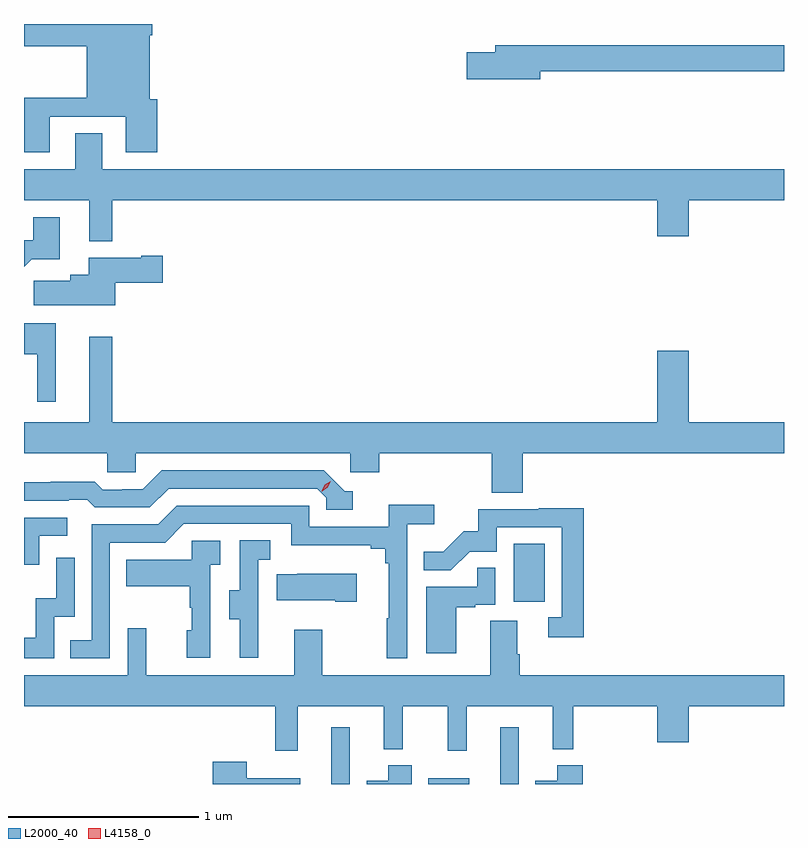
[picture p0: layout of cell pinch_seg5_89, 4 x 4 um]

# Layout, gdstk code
import gdstk
lib = gdstk.Library(unit=1e-6, precision=1e-09)
def R(c, l, rs):  # rectangles x0, y0, x1, y1
    for r in rs: c.add(gdstk.rectangle(r[:2], r[2:], *l))
def P(c, l, *ps):  # polygons
    for p in ps: c.add(gdstk.Polygon(p, *l))
L2000_40 = (2000, 40)
L4158_0 = (4158, 0)

pinch_seg5_89 = lib.new_cell('pinch_seg5_89')
R(pinch_seg5_89, L2000_40, [(1050.404,906.968,1050.501,907.267), (1050.914,906.968,1051.129,906.997), (1051.292,906.968,1051.389,907.267), (1051.364,907.926,1051.528,908.233)])
P(pinch_seg5_89, L2000_40, [(1048.921,910.479),(1049.321,910.479),(1049.321,910.293),(1049.486,910.293),(1049.486,910.572),(1049.449,910.572),(1049.449,910.91),(1049.462,910.91),(1049.462,910.968),(1048.786,910.968),(1048.786,910.85),(1049.117,910.85),(1049.117,910.58),(1048.786,910.58),(1048.786,910.293),(1048.921,910.293)],
  [(1051.504,910.72),(1052.786,910.72),(1052.786,910.856),(1051.265,910.856),(1051.265,910.82),(1051.116,910.82),(1051.116,910.678),(1051.504,910.678)],
  [(1049.251,910.04),(1052.12,910.04),(1052.12,909.852),(1052.284,909.852),(1052.284,910.04),(1052.786,910.04),(1052.786,910.204),(1049.197,910.204),(1049.197,910.394),(1049.057,910.394),(1049.057,910.204),(1048.786,910.204),(1048.786,910.04),(1049.129,910.04),(1049.129,909.824),(1049.251,909.824)],
  [(1048.826,909.731),(1048.975,909.731),(1048.975,909.952),(1048.835,909.952),(1048.835,909.829),(1048.786,909.829),(1048.786,909.691)],
  [(1049.266,909.605),(1049.515,909.605),(1049.515,909.747),(1049.402,909.747),(1049.402,909.739),(1049.126,909.739),(1049.126,909.649),(1049.03,909.649),(1049.03,909.617),(1048.836,909.617),(1048.836,909.488),(1049.266,909.488)],
  [(1048.954,909.394),(1048.786,909.394),(1048.786,909.23),(1048.856,909.23),(1048.856,908.979),(1048.954,908.979)],
  [(1051.412,908.708),(1052.786,908.708),(1052.786,908.872),(1052.284,908.872),(1052.284,909.247),(1052.12,909.247),(1052.12,908.872),(1049.251,908.872),(1049.251,909.322),(1049.129,909.322),(1049.129,908.872),(1048.786,908.872),(1048.786,908.708),(1049.223,908.708),(1049.223,908.61),(1049.373,908.61),(1049.373,908.708),(1050.504,908.708),(1050.504,908.61),(1050.656,908.61),(1050.656,908.708),(1051.247,908.708),(1051.247,908.5),(1051.412,908.5)],
  [(1050.517,908.508),(1050.474,908.508),(1050.363,908.619),(1049.51,908.619),(1049.411,908.52),(1049.304,908.52),(1049.304,908.517),(1049.201,908.517),(1049.159,908.56),(1048.926,908.56),(1048.926,908.557),(1048.786,908.557),(1048.786,908.46),(1049.021,908.46),(1049.021,908.463),(1049.12,908.463),(1049.159,908.424),(1049.448,908.424),(1049.547,908.523),(1050.33,908.523),(1050.378,908.475),(1050.378,908.412),(1050.517,908.412)],
  [(1049.238,908.238),(1049.529,908.238),(1049.628,908.337),(1050.192,908.337),(1050.192,908.225),(1050.611,908.225),(1050.611,908.206),(1050.688,908.206),(1050.688,908.129),(1050.707,908.129),(1050.707,907.841),(1050.696,907.841),(1050.696,907.629),(1050.804,907.629),(1050.804,908.336),(1050.946,908.336),(1050.946,908.438),(1050.707,908.438),(1050.707,908.322),(1050.288,908.322),(1050.288,908.433),(1049.591,908.433),(1049.492,908.334),(1049.142,908.334),(1049.142,907.725),(1049.029,907.725),(1049.029,907.629),(1049.238,907.629)],
  [(1051.733,908.42),(1051.495,908.42),(1051.495,908.415),(1051.177,908.415),(1051.177,908.298),(1051.1,908.298),(1050.993,908.191),(1050.889,908.191),(1050.889,908.092),(1051.033,908.092),(1051.131,908.19),(1051.275,908.19),(1051.275,908.319),(1051.617,908.319),(1051.617,907.845),(1051.545,907.845),(1051.545,907.74),(1051.733,907.74)],
  [(1048.866,908.274),(1049.014,908.274),(1049.014,908.37),(1048.786,908.37),(1048.786,908.121),(1048.866,908.121)],
  [(1050.02,907.845),(1050.018,907.845),(1050.018,908.149),(1050.082,908.149),(1050.082,908.252),(1049.922,908.252),(1049.922,907.989),(1049.867,907.989),(1049.867,907.834),(1049.921,907.834),(1049.921,907.632),(1050.02,907.632)],
  [(1049.766,908.123),(1049.818,908.123),(1049.818,908.247),(1049.67,908.247),(1049.67,908.149),(1049.323,908.149),(1049.323,908.009),(1049.658,908.009),(1049.658,907.895),(1049.668,907.895),(1049.668,907.776),(1049.642,907.776),(1049.642,907.632),(1049.766,907.632)],
  [(1048.944,907.848),(1049.052,907.848),(1049.052,908.158),(1048.956,908.158),(1048.956,907.946),(1048.847,907.946),(1048.847,907.738),(1048.786,907.738),(1048.786,907.629),(1048.944,907.629)],
  [(1051.06,907.899),(1051.16,907.899),(1051.16,907.911),(1051.266,907.911),(1051.266,908.105),(1051.171,908.105),(1051.171,908.007),(1050.902,908.007),(1050.902,907.656),(1051.06,907.656)],
  [(1050.538,908.074),(1050.223,908.074),(1050.223,908.071),(1050.115,908.071),(1050.115,907.934),(1050.425,907.934),(1050.425,907.927),(1050.538,907.927)],
  [(1050.227,907.376),(1050.68,907.376),(1050.68,907.151),(1050.78,907.151),(1050.78,907.376),(1051.015,907.376),(1051.015,907.143),(1051.115,907.143),(1051.115,907.376),(1051.568,907.376),(1051.568,907.151),(1051.678,907.151),(1051.678,907.376),(1052.12,907.376),(1052.12,907.188),(1052.284,907.188),(1052.284,907.376),(1052.786,907.376),(1052.786,907.54),(1051.394,907.54),(1051.394,907.652),(1051.381,907.652),(1051.381,907.826),(1051.241,907.826),(1051.241,907.54),(1050.357,907.54),(1050.357,907.78),(1050.209,907.78),(1050.209,907.54),(1049.429,907.54),(1049.429,907.789),(1049.331,907.789),(1049.331,907.54),(1048.786,907.54),(1048.786,907.376),(1050.109,907.376),(1050.109,907.143),(1050.227,907.143)],
  [(1050.241,906.997),(1049.958,906.997),(1049.958,907.084),(1049.78,907.084),(1049.78,906.968),(1050.241,906.968)],
  [(1051.727,907.066),(1051.592,907.066),(1051.592,906.985),(1051.478,906.985),(1051.478,906.968),(1051.727,906.968)],
  [(1050.826,907.066),(1050.704,907.066),(1050.704,906.985),(1050.59,906.985),(1050.59,906.968),(1050.826,906.968)])
P(pinch_seg5_89, L4158_0, [(1050.354,908.508),(1050.354,908.509),(1050.37,908.542),(1050.4,908.562),(1050.4,908.562),(1050.4,908.562),(1050.385,908.529),(1050.355,908.508)])

lib.write_gds('pinch_seg5_89.gds')
